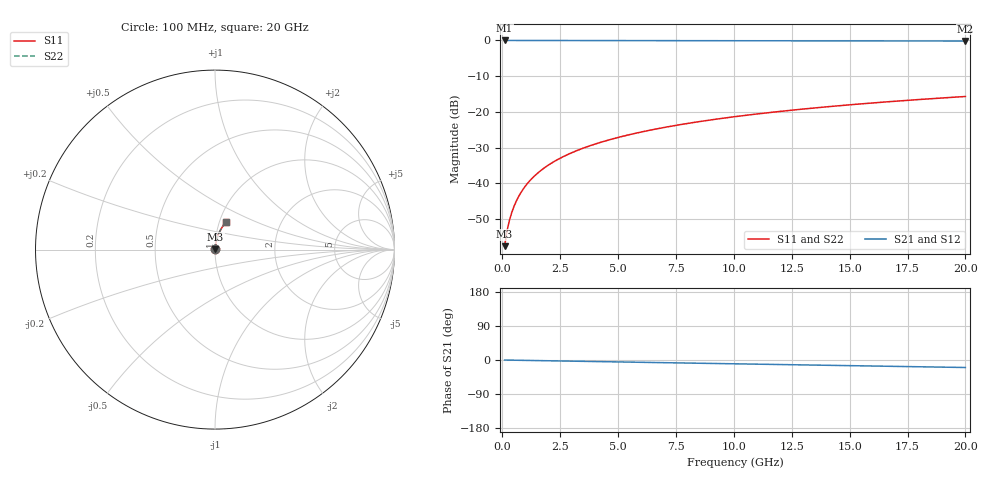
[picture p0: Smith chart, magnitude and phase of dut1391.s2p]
! Touchstone file exported from HFSS 2026.1.0
!  File:  C:/ffzhzh/LocalFiles/Ansys_Project_Files/temp_train_TMRDL_1391_1783166188_22436.aedt
!  Generated:  07:57:40 PM Jul  4, 2026
!  Design:  TMRDL
!  Project:  temp_train_TMRDL_1391_1783166188_22436
! Variables:
!  h_bsmrdl = 2um
!  h_ox = 20um
!  h_rdl = 5um
!  h_sub = 80um
!  h_tmrdl = 5.52um
!  h_tsv = 80um
!  h_via = 3um
!  l_bsmrdl = 300um
!  l_sub = 679.26um
!  l_tmrdl = 279.26um
!  m_sub = 200um
!  pitch = 48.47um
!  r_tsv = 6um
!  s_tmrdl = 10um
!  w_bsmrdl = 18um
!  w_sub = 500um
!  w_tmrdl = 26.03um
!  x_tsv_center1 = 292.275um
!  x_tsv_center2 = 610.275um
!  x_tsv_center3 = 915.565um
!  x_tsv_center4 = 1233.565um
!  x_tsv_center5 = 1538.855um
!  x_tsv_center6 = 1856.855um
# GHz S MA R 50.000000
! Terminal data exported
! Port[1] = TM_RDL1_1_T1
! Port[2] = TM_RDL1_1_T2
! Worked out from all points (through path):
!   200 points, 100 MHz to 20 GHz, reference 50 ohm
!   highest |S21| = -0.01 dB at 100 MHz (marker M1); lowest = -0.2 dB at 20 GHz (marker M2)
!   group delay of S21, straight-line fit = 2.75 ps
!   lowest |S11| = -57.6 dB at 100 MHz (marker M3), VSWR 1.00, Z = 50.1 + j0.1 ohm
!   |S11| at or under -10 dB: start of sweep to end of sweep
!   |S22| runs from -57.6 to -15.7 dB; largest |S21 - S12| = 8.4e-15
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0.1  0.00132 49.3  0.9991 -0.1  0.9991 -0.1  0.00132 49.3
! Gamma 0 0 0 0
! Port Impedance 50 0 50 0
0.2  0.00212 64.0  0.9991 -0.2  0.9991 -0.2  0.00212 64.0
0.3  0.002961 70.9  0.999 -0.3  0.999 -0.3  0.002961 70.9
0.4  0.003828 74.8  0.999 -0.4  0.999 -0.4  0.003828 74.8
0.5  0.004709 77.3  0.9989 -0.5  0.9989 -0.5  0.004709 77.3
0.6  0.005599 79.0  0.9989 -0.6  0.9989 -0.6  0.005599 79.0
0.8  0.007389 81.0  0.9988 -0.8  0.9988 -0.8  0.007389 81.0
1.1  0.01008 82.4  0.9987 -1.1  0.9987 -1.1  0.01008 82.4
1.3  0.01187 82.9  0.9987 -1.3  0.9987 -1.3  0.01187 82.9
1.5  0.01366 83.2  0.9986 -1.5  0.9986 -1.5  0.01366 83.2
1.8  0.01633 83.3  0.9985 -1.9  0.9985 -1.9  0.01633 83.3
2.1  0.01898 83.4  0.9983 -2.2  0.9983 -2.2  0.01898 83.4
2.7  0.02422 83.2  0.998 -2.8  0.998 -2.8  0.02422 83.2
3.5  0.03113 82.7  0.9975 -3.6  0.9975 -3.6  0.03113 82.7
4.2  0.0371 82.2  0.997 -4.3  0.997 -4.3  0.0371 82.2
5  0.04387 81.6  0.9965 -5.1  0.9965 -5.1  0.04387 81.6
6.8  0.05895 80.2  0.9952 -6.9  0.9952 -6.9  0.05895 80.2
8.3  0.07139 78.9  0.994 -8.4  0.994 -8.4  0.07139 78.9
10.1  0.08618 77.3  0.9925 -10.1  0.9925 -10.1  0.08618 77.3
13.4  0.1129 74.4  0.9893 -13.4  0.9893 -13.4  0.1129 74.4
16.7  0.1389 71.4  0.9855 -16.6  0.9855 -16.6  0.1389 71.4
20  0.1642 68.4  0.9811 -19.8  0.9811 -19.8  0.1642 68.4
